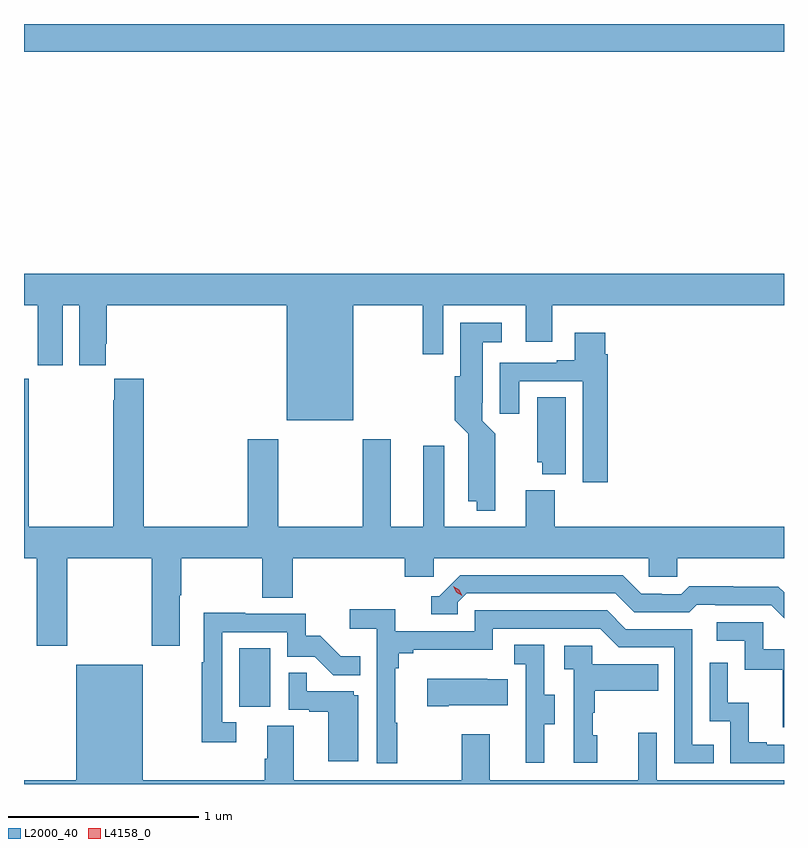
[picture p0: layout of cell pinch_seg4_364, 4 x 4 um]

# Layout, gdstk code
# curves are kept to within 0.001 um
import gdstk
lib = gdstk.Library(unit=1e-6, precision=1e-09)
def R(c, l, rs):  # rectangles x0, y0, x1, y1
    for r in rs: c.add(gdstk.rectangle(r[:2], r[2:], *l))
def P(c, l, *ps):  # polygons
    for p in ps: c.add(gdstk.Polygon(p, *l))
L2000_40 = (2000, 40)
L4158_0 = (4158, 0)

pinch_seg4_364 = lib.new_cell('pinch_seg4_364')
R(pinch_seg4_364, L2000_40, [(973.178,801.366,973.342,801.673), (972.046,804.812,976.046,804.959)])
P(pinch_seg4_364, L2000_40, [(973.78,803.48),(974.145,803.48),(974.145,803.22),(974.253,803.22),(974.253,803.48),(974.687,803.48),(974.687,803.286),(974.827,803.286),(974.827,803.48),(976.046,803.48),(976.046,803.644),(972.046,803.644),(972.046,803.48),(972.119,803.48),(972.119,803.163),(972.25,803.163),(972.25,803.48),(972.338,803.48),(972.338,803.163),(972.475,803.163),(972.475,803.275),(972.482,803.275),(972.482,803.48),(973.43,803.48),(973.43,802.874),(973.78,802.874)],
  [(974.526,802.7),(974.527,802.802),(974.457,802.872),(974.457,802.966),(974.461,802.966),(974.461,803.285),(974.56,803.285),(974.56,803.386),(974.342,803.386),(974.342,803.106),(974.312,803.106),(974.312,802.874),(974.384,802.802),(974.384,802.448),(974.429,802.448),(974.429,802.397),(974.526,802.397)],
  [(975.119,803.222),(975.106,803.222),(975.106,803.335),(974.945,803.335),(974.945,803.188),(974.849,803.188),(974.849,803.175),(974.549,803.175),(974.549,802.908),(974.653,802.908),(974.653,803.079),(974.987,803.079),(974.987,802.548),(975.119,802.548)],
  [(972.273,802.148),(972.718,802.148),(972.718,801.687),(972.865,801.687),(972.865,801.952),(972.873,801.952),(972.873,802.148),(973.3,802.148),(973.3,801.94),(973.46,801.94),(973.46,802.148),(974.051,802.148),(974.051,802.05),(974.202,802.05),(974.202,802.148),(975.333,802.148),(975.333,802.05),(975.483,802.05),(975.483,802.148),(976.046,802.148),(976.046,802.312),(974.84,802.312),(974.84,802.504),(974.687,802.504),(974.687,802.312),(974.257,802.312),(974.257,802.738),(974.147,802.738),(974.147,802.312),(973.975,802.312),(973.975,802.774),(973.828,802.774),(973.828,802.312),(973.383,802.312),(973.383,802.774),(973.223,802.774),(973.223,802.312),(972.677,802.312),(972.677,803.092),(972.521,803.092),(972.521,802.979),(972.517,802.979),(972.517,802.312),(972.072,802.312),(972.072,803.092),(972.046,803.092),(972.046,802.148),(972.113,802.148),(972.113,801.687),(972.273,801.687)],
  [(974.896,802.994),(974.747,802.994),(974.747,802.653),(974.774,802.653),(974.774,802.589),(974.896,802.589)],
  [(976.046,801.967),(976.016,801.997),(975.78,801.997),(975.78,802),(975.547,802),(975.505,801.957),(975.402,801.957),(975.402,801.96),(975.295,801.96),(975.196,802.059),(974.343,802.059),(974.232,801.948),(974.189,801.948),(974.189,801.852),(974.328,801.852),(974.328,801.915),(974.376,801.963),(975.159,801.963),(975.258,801.864),(975.547,801.864),(975.586,801.903),(975.685,801.903),(975.685,801.9),(975.978,801.9),(976.046,801.832)],
  [(974.011,801.281),(973.999,801.281),(973.999,801.569),(974.018,801.569),(974.018,801.646),(974.095,801.646),(974.095,801.665),(974.514,801.665),(974.514,801.777),(975.078,801.777),(975.177,801.678),(975.468,801.678),(975.468,801.069),(975.677,801.069),(975.677,801.165),(975.564,801.165),(975.564,801.774),(975.214,801.774),(975.115,801.873),(974.418,801.873),(974.418,801.762),(974,801.762),(974,801.878),(973.761,801.878),(973.761,801.776),(973.902,801.776),(973.902,801.069),(974.011,801.069)],
  [(973.162,801.285),(973.089,801.285),(973.089,801.759),(973.431,801.759),(973.431,801.63),(973.575,801.63),(973.673,801.532),(973.817,801.532),(973.817,801.631),(973.713,801.631),(973.606,801.738),(973.53,801.738),(973.53,801.855),(973.211,801.855),(973.211,801.86),(972.993,801.86),(972.993,801.599),(972.981,801.599),(972.981,801.18),(973.162,801.18)],
  [(976.046,801.669),(975.936,801.669),(975.936,801.81),(975.693,801.81),(975.693,801.714),(975.84,801.714),(975.84,801.561),(976.039,801.561),(976.039,801.258),(976.046,801.258)],
  [(974.785,801.274),(974.839,801.274),(974.839,801.429),(974.784,801.429),(974.784,801.692),(974.625,801.692),(974.625,801.589),(974.688,801.589),(974.688,801.285),(974.687,801.285),(974.687,801.072),(974.785,801.072)],
  [(975.064,801.216),(975.039,801.216),(975.039,801.335),(975.049,801.335),(975.049,801.449),(975.383,801.449),(975.383,801.589),(975.036,801.589),(975.036,801.687),(974.889,801.687),(974.889,801.563),(974.94,801.563),(974.94,801.072),(975.064,801.072)],
  [(976.046,801.165),(975.955,801.165),(975.955,801.178),(975.86,801.178),(975.86,801.386),(975.75,801.386),(975.75,801.598),(975.654,801.598),(975.654,801.288),(975.762,801.288),(975.762,801.069),(976.046,801.069)],
  [(976.046,800.98),(975.375,800.98),(975.375,801.229),(975.278,801.229),(975.278,800.98),(974.497,800.98),(974.497,801.22),(974.35,801.22),(974.35,800.98),(973.465,800.98),(973.465,801.266),(973.325,801.266),(973.325,801.092),(973.313,801.092),(973.313,800.98),(972.67,800.98),(972.67,801.586),(972.32,801.586),(972.32,800.98),(972.046,800.98),(972.046,800.959),(976.046,800.959)],
  [(973.804,801.426),(973.782,801.426),(973.782,801.447),(973.535,801.447),(973.535,801.545),(973.44,801.545),(973.44,801.351),(973.547,801.351),(973.547,801.339),(973.646,801.339),(973.646,801.078),(973.804,801.078)],
  [(974.281,801.374),(974.591,801.374),(974.591,801.511),(974.483,801.511),(974.483,801.514),(974.169,801.514),(974.169,801.367),(974.281,801.367)])
P(pinch_seg4_364, L4158_0, [(974.352,801.949),(974.321,801.968),(974.304,802.001),(974.304,802.001),(974.305,802.001),(974.336,801.982),(974.352,801.95),(974.352,801.949)])

lib.write_gds('pinch_seg4_364.gds')
